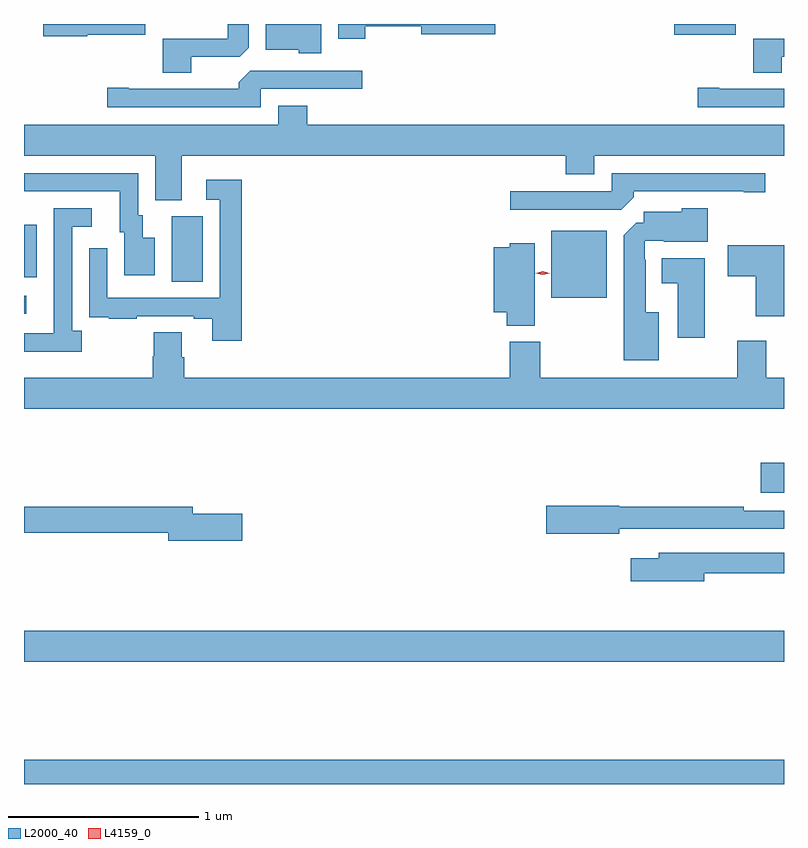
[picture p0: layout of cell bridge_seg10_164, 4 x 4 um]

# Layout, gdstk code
import gdstk
lib = gdstk.Library(unit=1e-6, precision=1e-09)
def R(c, l, rs):  # rectangles x0, y0, x1, y1
    for r in rs: c.add(gdstk.rectangle(r[:2], r[2:], *l))
def P(c, l, *ps):  # polygons
    for p in ps: c.add(gdstk.Polygon(p, *l))
L2000_40 = (2000, 40)
L4159_0 = (4159, 0)

bridge_seg10_164 = lib.new_cell('bridge_seg10_164')
R(bridge_seg10_164, L2000_40, [(232.295,1277.029,236.295,1277.156), (232.295,1277.672,236.295,1277.836), (236.172,1278.563,236.295,1278.721), (232.295,1279.503,232.306,1279.599), (235.07,1279.589,235.363,1279.942), (233.072,1279.672,233.236,1280.016), (232.295,1279.697,232.363,1279.972), (235.718,1280.972,236.041,1281.029)])
P(bridge_seg10_164, L2000_40, [(233.86,1281.029),(233.567,1281.029),(233.567,1280.894),(233.742,1280.894),(233.742,1280.876),(233.86,1280.876)],
  [(234.09,1281.016),(234.386,1281.016),(234.386,1280.974),(234.775,1280.974),(234.775,1281.029),(233.948,1281.029),(233.948,1280.952),(234.09,1280.952)],
  [(232.629,1280.972),(232.933,1280.972),(232.933,1281.029),(232.395,1281.029),(232.395,1280.965),(232.629,1280.965)],
  [(233.176,1280.856),(233.43,1280.856),(233.479,1280.905),(233.479,1281.029),(233.367,1281.029),(233.367,1280.952),(233.024,1280.952),(233.024,1280.773),(233.176,1280.773)],
  [(236.284,1280.856),(236.295,1280.856),(236.295,1280.952),(236.132,1280.952),(236.132,1280.773),(236.284,1280.773)],
  [(233.541,1280.688),(234.076,1280.688),(234.076,1280.784),(233.487,1280.784),(233.426,1280.722),(233.426,1280.688),(232.846,1280.688),(232.846,1280.693),(232.734,1280.693),(232.734,1280.592),(233.541,1280.592)],
  [(236.295,1280.688),(235.954,1280.688),(235.954,1280.693),(235.842,1280.693),(235.842,1280.592),(236.295,1280.592)],
  [(233.125,1280.336),(235.145,1280.336),(235.145,1280.237),(235.297,1280.237),(235.297,1280.336),(236.295,1280.336),(236.295,1280.5),(233.786,1280.5),(233.786,1280.599),(233.633,1280.599),(233.633,1280.5),(232.295,1280.5),(232.295,1280.336),(232.985,1280.336),(232.985,1280.101),(233.125,1280.101)],
  [(235.505,1280.117),(235.505,1280.148),(236.084,1280.148),(236.084,1280.143),(236.197,1280.143),(236.197,1280.244),(235.389,1280.244),(235.389,1280.148),(234.855,1280.148),(234.855,1280.052),(235.439,1280.052)],
  [(232.984,1279.903),(232.921,1279.903),(232.921,1280.022),(232.896,1280.022),(232.896,1280.244),(232.295,1280.244),(232.295,1280.148),(232.799,1280.148),(232.799,1279.932),(232.823,1279.932),(232.823,1279.707),(232.984,1279.707)],
  [(233.441,1280.209),(233.253,1280.209),(233.253,1280.103),(233.325,1280.103),(233.325,1279.587),(232.734,1279.587),(232.734,1279.849),(232.638,1279.849),(232.638,1279.594),(232.639,1279.594),(232.639,1279.485),(232.741,1279.485),(232.741,1279.479),(232.889,1279.479),(232.889,1279.491),(233.189,1279.491),(233.189,1279.479),(233.285,1279.479),(233.285,1279.362),(233.441,1279.362)],
  [(235.636,1279.513),(235.567,1279.513),(235.567,1279.787),(235.563,1279.787),(235.563,1279.887),(235.663,1279.887),(235.663,1279.883),(235.894,1279.883),(235.894,1280.059),(235.758,1280.059),(235.758,1280.041),(235.556,1280.041),(235.556,1279.984),(235.517,1279.984),(235.451,1279.917),(235.451,1279.259),(235.636,1279.259)],
  [(232.6,1279.414),(232.548,1279.414),(232.548,1279.962),(232.651,1279.962),(232.651,1280.058),(232.452,1280.058),(232.452,1279.601),(232.451,1279.601),(232.451,1279.401),(232.295,1279.401),(232.295,1279.304),(232.6,1279.304)],
  [(234.982,1279.876),(234.852,1279.876),(234.852,1279.855),(234.767,1279.855),(234.767,1279.511),(234.836,1279.511),(234.836,1279.441),(234.982,1279.441)],
  [(236.295,1279.864),(235.998,1279.864),(235.998,1279.702),(236.147,1279.702),(236.147,1279.491),(236.295,1279.491)],
  [(235.879,1279.795),(235.652,1279.795),(235.652,1279.664),(235.736,1279.664),(235.736,1279.377),(235.879,1279.377)],
  [(236.295,1279.168),(236.201,1279.168),(236.201,1279.363),(236.048,1279.363),(236.048,1279.168),(235.011,1279.168),(235.011,1279.356),(234.851,1279.356),(234.851,1279.168),(233.138,1279.168),(233.138,1279.274),(233.125,1279.274),(233.125,1279.406),(232.978,1279.406),(232.978,1279.281),(232.973,1279.281),(232.973,1279.168),(232.295,1279.168),(232.295,1279.004),(236.295,1279.004)],
  [(235.428,1278.372),(236.295,1278.372),(236.295,1278.468),(236.084,1278.468),(236.084,1278.488),(235.428,1278.488),(235.428,1278.494),(235.044,1278.494),(235.044,1278.347),(235.428,1278.347)],
  [(233.443,1278.452),(233.182,1278.452),(233.182,1278.488),(232.295,1278.488),(232.295,1278.352),(233.054,1278.352),(233.054,1278.31),(233.443,1278.31)],
  [(235.876,1278.138),(236.295,1278.138),(236.295,1278.246),(235.637,1278.246),(235.637,1278.217),(235.488,1278.217),(235.488,1278.095),(235.876,1278.095)])
P(bridge_seg10_164, L4159_0, [(235.026,1279.708),(234.989,1279.717),(234.988,1279.718),(234.989,1279.718),(235.026,1279.728),(235.062,1279.718),(235.063,1279.718),(235.062,1279.717)])

lib.write_gds('bridge_seg10_164.gds')
